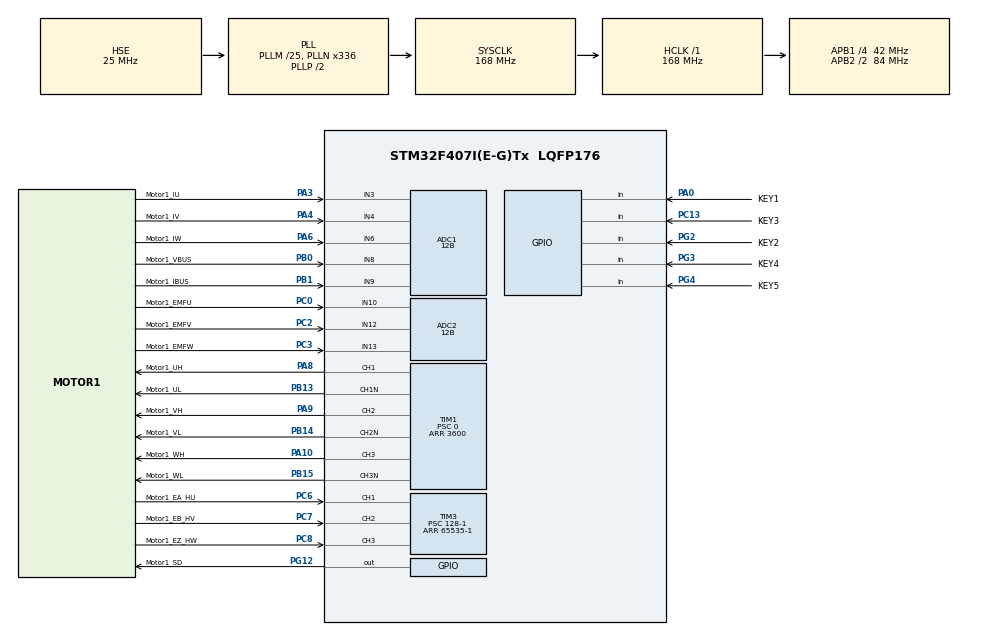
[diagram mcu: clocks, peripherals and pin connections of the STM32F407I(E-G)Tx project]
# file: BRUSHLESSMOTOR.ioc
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ADC1.Channel-0\#ChannelInjectedConversion=ADC_CHANNEL_3
ADC1.Channel-0\#ChannelRegularConversion=ADC_CHANNEL_8
ADC1.Channel-1\#ChannelInjectedConversion=ADC_CHANNEL_4
ADC1.Channel-1\#ChannelRegularConversion=ADC_CHANNEL_9
ADC1.Channel-2\#ChannelInjectedConversion=ADC_CHANNEL_6
ADC1.ClockPrescaler=ADC_CLOCK_SYNC_PCLK_DIV4
ADC1.ContinuousConvMode=ENABLE
ADC1.DMAContinuousRequests=ENABLE
ADC1.DataAlign=ADC_DATAALIGN_RIGHT
ADC1.DiscontinuousConvMode=DISABLE
ADC1.EOCSelection=ADC_EOC_SINGLE_CONV
ADC1.ExternalTrigConv=ADC_SOFTWARE_START
ADC1.ExternalTrigConvEdge=ADC_EXTERNALTRIGCONVEDGE_NONE
ADC1.ExternalTrigInjecConv=ADC_EXTERNALTRIGINJECCONV_T1_CC4
ADC1.ExternalTrigInjecConvEdge=ADC_EXTERNALTRIGINJECCONVEDGE_FALLING
ADC1.InjNumberOfConversion=3
ADC1.InjectedOffset-0=0
ADC1.InjectedOffset-1=0
ADC1.InjectedOffset-2=0
ADC1.InjectedRank-0\#ChannelInjectedConversion=1
ADC1.InjectedRank-1\#ChannelInjectedConversion=2
ADC1.InjectedRank-2\#ChannelInjectedConversion=3
ADC1.NbrOfConversion=2
ADC1.NbrOfConversionFlag=1
ADC1.Rank-0\#ChannelRegularConversion=1
ADC1.Rank-1\#ChannelRegularConversion=2
ADC1.Resolution=ADC_RESOLUTION_12B
ADC1.SamplingTime-0\#ChannelInjectedConversion=ADC_SAMPLETIME_3CYCLES
ADC1.SamplingTime-0\#ChannelRegularConversion=ADC_SAMPLETIME_3CYCLES
ADC1.SamplingTime-1\#ChannelInjectedConversion=ADC_SAMPLETIME_3CYCLES
ADC1.SamplingTime-1\#ChannelRegularConversion=ADC_SAMPLETIME_3CYCLES
ADC1.SamplingTime-2\#ChannelInjectedConversion=ADC_SAMPLETIME_3CYCLES
ADC1.ScanConvMode=ENABLE
ADC1.master=1
ADC2.Channel-0\#ChannelInjectedConversion=ADC_CHANNEL_10
ADC2.Channel-1\#ChannelInjectedConversion=ADC_CHANNEL_12
ADC2.Channel-2\#ChannelInjectedConversion=ADC_CHANNEL_13
ADC2.Channel-3\#ChannelRegularConversion=ADC_CHANNEL_10
ADC2.ClockPrescaler=ADC_CLOCK_SYNC_PCLK_DIV4
ADC2.ContinuousConvMode=DISABLE
ADC2.DMAContinuousRequests=DISABLE
ADC2.DataAlign=ADC_DATAALIGN_RIGHT
ADC2.DiscontinuousConvMode=DISABLE
ADC2.EOCSelection=ADC_EOC_SINGLE_CONV
ADC2.ExternalTrigConv=ADC_SOFTWARE_START
ADC2.ExternalTrigConvEdge=ADC_EXTERNALTRIGCONVEDGE_NONE
ADC2.ExternalTrigInjecConv=ADC_EXTERNALTRIGINJECCONV_T1_CC4
ADC2.ExternalTrigInjecConvEdge=ADC_EXTERNALTRIGINJECCONVEDGE_FALLING
ADC2.InjNumberOfConversion=3
ADC2.InjectedOffset-0=0
ADC2.InjectedOffset-1=0
ADC2.InjectedOffset-2=0
ADC2.InjectedRank-0\#ChannelInjectedConversion=1
ADC2.InjectedRank-1\#ChannelInjectedConversion=2
ADC2.InjectedRank-2\#ChannelInjectedConversion=3
ADC2.NbrOfConversion=1
ADC2.NbrOfConversionFlag=1
ADC2.Rank-3\#ChannelRegularConversion=1
ADC2.Resolution=ADC_RESOLUTION_12B
ADC2.SamplingTime-0\#ChannelInjectedConversion=ADC_SAMPLETIME_3CYCLES
ADC2.SamplingTime-1\#ChannelInjectedConversion=ADC_SAMPLETIME_3CYCLES
ADC2.SamplingTime-2\#ChannelInjectedConversion=ADC_SAMPLETIME_3CYCLES
ADC2.SamplingTime-3\#ChannelRegularConversion=ADC_SAMPLETIME_3CYCLES
ADC2.ScanConvMode=ENABLE
Dma.ADC1.0.Direction=DMA_PERIPH_TO_MEMORY
Dma.ADC1.0.FIFOMode=DMA_FIFOMODE_DISABLE
Dma.ADC1.0.Instance=DMA2_Stream0
Dma.ADC1.0.MemDataAlignment=DMA_MDATAALIGN_HALFWORD
Dma.ADC1.0.MemInc=DMA_MINC_ENABLE
Dma.ADC1.0.Mode=DMA_CIRCULAR
Dma.ADC1.0.PeriphDataAlignment=DMA_PDATAALIGN_HALFWORD
Dma.ADC1.0.PeriphInc=DMA_PINC_DISABLE
Dma.ADC1.0.Priority=DMA_PRIORITY_LOW
Dma.Request0=ADC1
Mcu.Family=STM32F4
Mcu.Name=STM32F407I(E-G)Tx
Mcu.Package=LQFP176
NVIC.ADC_IRQn=true\:0\:0\:false\:false\:true\:true\:true\:true
NVIC.DMA2_Stream0_IRQn=true\:0\:0\:false\:false\:true\:false\:true\:true
NVIC.PriorityGroup=NVIC_PRIORITYGROUP_4
NVIC.TIM1_UP_TIM10_IRQn=true\:1\:0\:false\:false\:true\:true\:true\:true
NVIC.TIM3_IRQn=true\:0\:0\:false\:false\:true\:true\:true\:true
PA0-WKUP.GPIO_Label=KEY1
PA0-WKUP.Signal=GPIO_Input
PA10.GPIO_Label=Motor1_WH
PA10.Signal=S_TIM1_CH3
PA13.Mode=Serial_Wire
PA13.Signal=SYS_JTMS-SWDIO
PA14.Mode=Serial_Wire
PA14.Signal=SYS_JTCK-SWCLK
PA3.GPIO_Label=Motor1_IU
PA3.Signal=ADCx_IN3
PA4.GPIO_Label=Motor1_IV
PA4.Signal=ADCx_IN4
PA6.GPIO_Label=Motor1_IW
PA6.Signal=ADCx_IN6
PA8.GPIO_Label=Motor1_UH
PA8.Signal=S_TIM1_CH1
PA9.GPIO_Label=Motor1_VH
PA9.Signal=S_TIM1_CH2
PB0.GPIO_Label=Motor1_VBUS
PB0.Signal=ADCx_IN8
PB1.GPIO_Label=Motor1_IBUS
PB1.Signal=ADCx_IN9
PB13.GPIO_Label=Motor1_UL
PB13.GPIO_Speed=GPIO_SPEED_FREQ_LOW
PB13.Mode=PWM Generation1 CH1 CH1N
PB13.Signal=TIM1_CH1N
PB14.GPIO_Label=Motor1_VL
PB14.GPIO_Speed=GPIO_SPEED_FREQ_LOW
PB14.Mode=PWM Generation2 CH2 CH2N
PB14.Signal=TIM1_CH2N
PB15.GPIO_Label=Motor1_WL
PB15.GPIO_Speed=GPIO_SPEED_FREQ_LOW
PB15.Mode=PWM Generation3 CH3 CH3N
PB15.Signal=TIM1_CH3N
PC0.GPIO_Label=Motor1_EMFU
PC0.Signal=ADCx_IN10
PC13-ANTI_TAMP.GPIO_Label=KEY3
PC13-ANTI_TAMP.Signal=GPIO_Input
PC14-OSC32_IN.Mode=LSE-External-Oscillator
PC14-OSC32_IN.Signal=RCC_OSC32_IN
PC15-OSC32_OUT.Mode=LSE-External-Oscillator
PC15-OSC32_OUT.Signal=RCC_OSC32_OUT
PC2.GPIO_Label=Motor1_EMFV
PC2.Signal=ADCx_IN12
PC3.GPIO_Label=Motor1_EMFW
PC3.Signal=ADCx_IN13
PC6.GPIO_Label=Motor1_EA_HU
PC6.GPIO_PuPd=GPIO_PULLUP
PC6.Signal=S_TIM3_CH1
PC7.GPIO_Label=Motor1_EB_HV
PC7.GPIO_PuPd=GPIO_PULLUP
PC7.Signal=S_TIM3_CH2
PC8.GPIO_Label=Motor1_EZ_HW
PC8.GPIO_PuPd=GPIO_PULLUP
PC8.Signal=S_TIM3_CH3
PG12.GPIO_Label=Motor1_SD
PG12.Signal=GPIO_Output
PG2.GPIO_Label=KEY2
PG2.Signal=GPIO_Input
PG3.GPIO_Label=KEY4
PG3.Signal=GPIO_Input
PG4.GPIO_Label=KEY5
PG4.Signal=GPIO_Input
PH0-OSC_IN.Mode=HSE-External-Oscillator
PH0-OSC_IN.Signal=RCC_OSC_IN
PH1-OSC_OUT.Mode=HSE-External-Oscillator
PH1-OSC_OUT.Signal=RCC_OSC_OUT
ProjectManager.HeapSize=0x200
ProjectManager.StackSize=0x400
ProjectManager.TargetToolchain=MDK-ARM V5.32
RCC.48MHZClocksFreq_Value=84000000
RCC.AHBFreq_Value=168000000
RCC.APB1CLKDivider=RCC_HCLK_DIV4
RCC.APB1Freq_Value=42000000
RCC.APB1TimFreq_Value=84000000
RCC.APB2CLKDivider=RCC_HCLK_DIV2
RCC.APB2Freq_Value=84000000
RCC.APB2TimFreq_Value=168000000
RCC.CortexFreq_Value=168000000
RCC.HCLKFreq_Value=168000000
RCC.HSE_VALUE=25000000
RCC.HSI_VALUE=16000000
RCC.PLLM=25
RCC.PLLN=336
RCC.PLLSourceVirtual=RCC_PLLSOURCE_HSE
RCC.SYSCLKFreq_VALUE=168000000
RCC.SYSCLKSource=RCC_SYSCLKSOURCE_PLLCLK
RCC.VCOOutputFreq_Value=336000000
SH.ADCx_IN10.0=ADC2_IN10,IN10
SH.ADCx_IN12.0=ADC2_IN12,IN12
SH.ADCx_IN13.0=ADC2_IN13,IN13
SH.ADCx_IN3.0=ADC1_IN3,IN3
SH.ADCx_IN4.0=ADC1_IN4,IN4
SH.ADCx_IN6.0=ADC1_IN6,IN6
SH.ADCx_IN8.0=ADC1_IN8,IN8
SH.ADCx_IN9.0=ADC1_IN9,IN9
SH.S_TIM1_CH1.0=TIM1_CH1,PWM Generation1 CH1 CH1N
SH.S_TIM1_CH2.0=TIM1_CH2,PWM Generation2 CH2 CH2N
SH.S_TIM1_CH3.0=TIM1_CH3,PWM Generation3 CH3 CH3N
SH.S_TIM3_CH1.0=TIM3_CH1,Input_Capture1_from_TI1
SH.S_TIM3_CH2.0=TIM3_CH2,Input_Capture2_from_TI2
SH.S_TIM3_CH3.0=TIM3_CH3,Input_Capture3_from_TI3
TIM1.Channel-PWM\ Generation1\ CH1\ CH1N=TIM_CHANNEL_1
TIM1.Channel-PWM\ Generation2\ CH2\ CH2N=TIM_CHANNEL_2
TIM1.Channel-PWM\ Generation3\ CH3\ CH3N=TIM_CHANNEL_3
TIM1.Channel-PWM\ Generation4\ No\ Output=TIM_CHANNEL_4
TIM1.CounterMode=TIM_COUNTERMODE_CENTERALIGNED1
TIM1.OCIdleState_1=TIM_OCIDLESTATE_SET
TIM1.OCIdleState_2=TIM_OCIDLESTATE_SET
TIM1.OCIdleState_3=TIM_OCIDLESTATE_SET
TIM1.OCPolarity_4=TIM_OCPOLARITY_HIGH
TIM1.Period=3600
TIM1.Prescaler=0
TIM1.RepetitionCounter=0
TIM3.Channel-Input_Capture1_from_TI1=TIM_CHANNEL_1
TIM3.Channel-Input_Capture2_from_TI2=TIM_CHANNEL_2
TIM3.Channel-Input_Capture3_from_TI3=TIM_CHANNEL_3
TIM3.CounterMode=TIM_COUNTERMODE_CENTERALIGNED1
TIM3.ICPolarity_CH1=TIM_INPUTCHANNELPOLARITY_BOTHEDGE
TIM3.ICPolarity_CH2=TIM_INPUTCHANNELPOLARITY_BOTHEDGE
TIM3.ICPolarity_CH3=TIM_INPUTCHANNELPOLARITY_BOTHEDGE
TIM3.Period=65535-1
TIM3.Prescaler=128-1
VP_TIM1_VS_ClockSourceINT.Mode=Internal
VP_TIM1_VS_no_output4.Mode=PWM Generation4 No Output
board=custom

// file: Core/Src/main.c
/* USER CODE BEGIN Header */
/**
  ******************************************************************************
  * @file           : main.c
  * @brief          : Main program body
  ******************************************************************************
  * @attention
  *
  * Copyright (c) 2026 STMicroelectronics.
  * All rights reserved.
  *
  * This software is licensed under terms that can be found in the LICENSE file
  * in the root directory of this software component.
  * If no LICENSE file comes with this software, it is provided AS-IS.
  *
  ******************************************************************************
  */
/* USER CODE END Header */
#include "main.h"
#include "adc.h"
#include "dma.h"
#include "tim.h"
#include "gpio.h"

/* USER CODE BEGIN Includes */
#include "bsp_key.h"
#include "bsp_adc.h"
#include "bsp_focm_control.h"
/* USER CODE END Includes */

void SystemClock_Config(void);

int main(void)
{

  /* MCU Configuration--------------------------------------------------------*/

  /* Reset of all peripherals, Initializes the Flash interface and the Systick. */
  HAL_Init();

  /* Configure the system clock */
  SystemClock_Config();

  /* Initialize all configured peripherals */
  MX_GPIO_Init();
  MX_DMA_Init();
  MX_ADC1_Init();
  MX_ADC2_Init();
  MX_TIM1_Init();
  MX_TIM3_Init();
  /* USER CODE BEGIN 2 */
  focm_init();
  ADC_Init();
  /* Arm CC4 before the update interrupt.  The ADC frame gate in the timer
     callback keeps FOC stopped until the first injected sample is complete. */
  if (HAL_TIM_PWM_Start(&htim1, TIM_CHANNEL_4) != HAL_OK)
  {
    Error_Handler();
  }
  if (HAL_TIM_PWM_Start(&htim1, TIM_CHANNEL_1) != HAL_OK)
  {
    Error_Handler();
  }
  if (HAL_TIM_PWM_Start(&htim1, TIM_CHANNEL_2) != HAL_OK)
  {
    Error_Handler();
  }
  if (HAL_TIM_PWM_Start(&htim1, TIM_CHANNEL_3) != HAL_OK)
  {
    Error_Handler();
  }
  if (HAL_TIM_Base_Start_IT(&htim1) != HAL_OK)
  {
    Error_Handler();
  }
	__HAL_TIM_ENABLE_IT(&htim1, TIM_IT_UPDATE);
  /* USER CODE END 2 */

  /* Infinite loop */
  /* USER CODE BEGIN WHILE */
	HAL_SYSTICK_Config(RCC_MAX_FREQUENCY/1000);
  while (1)
  {
    /* USER CODE END WHILE */

    /* USER CODE BEGIN 3 */
		Key_process();
		adc_process();
  }
  /* USER CODE END 3 */
}

void SystemClock_Config(void)
{
  RCC_OscInitTypeDef RCC_OscInitStruct = {0};
  RCC_ClkInitTypeDef RCC_ClkInitStruct = {0};

  /** Configure the main internal regulator output voltage
  */
  __HAL_RCC_PWR_CLK_ENABLE();
  __HAL_PWR_VOLTAGESCALING_CONFIG(PWR_REGULATOR_VOLTAGE_SCALE1);

  /** Initializes the RCC Oscillators according to the specified parameters
  * in the RCC_OscInitTypeDef structure.
  */
  RCC_OscInitStruct.OscillatorType = RCC_OSCILLATORTYPE_HSE;
  RCC_OscInitStruct.HSEState = RCC_HSE_ON;
  RCC_OscInitStruct.PLL.PLLState = RCC_PLL_ON;
  RCC_OscInitStruct.PLL.PLLSource = RCC_PLLSOURCE_HSE;
  RCC_OscInitStruct.PLL.PLLM = 25;
  RCC_OscInitStruct.PLL.PLLN = 336;
  RCC_OscInitStruct.PLL.PLLP = RCC_PLLP_DIV2;
  RCC_OscInitStruct.PLL.PLLQ = 4;
  if (HAL_RCC_OscConfig(&RCC_OscInitStruct) != HAL_OK)
  {
    Error_Handler();
  }

  /** Initializes the CPU, AHB and APB buses clocks
  */
  RCC_ClkInitStruct.ClockType = RCC_CLOCKTYPE_HCLK|RCC_CLOCKTYPE_SYSCLK
                              |RCC_CLOCKTYPE_PCLK1|RCC_CLOCKTYPE_PCLK2;
  RCC_ClkInitStruct.SYSCLKSource = RCC_SYSCLKSOURCE_PLLCLK;
  RCC_ClkInitStruct.AHBCLKDivider = RCC_SYSCLK_DIV1;
  RCC_ClkInitStruct.APB1CLKDivider = RCC_HCLK_DIV4;
  RCC_ClkInitStruct.APB2CLKDivider = RCC_HCLK_DIV2;

  if (HAL_RCC_ClockConfig(&RCC_ClkInitStruct, FLASH_LATENCY_5) != HAL_OK)
  {
    Error_Handler();
  }
}

void Error_Handler(void)
{
  __disable_irq();
  while (1)
  {
  }
}
